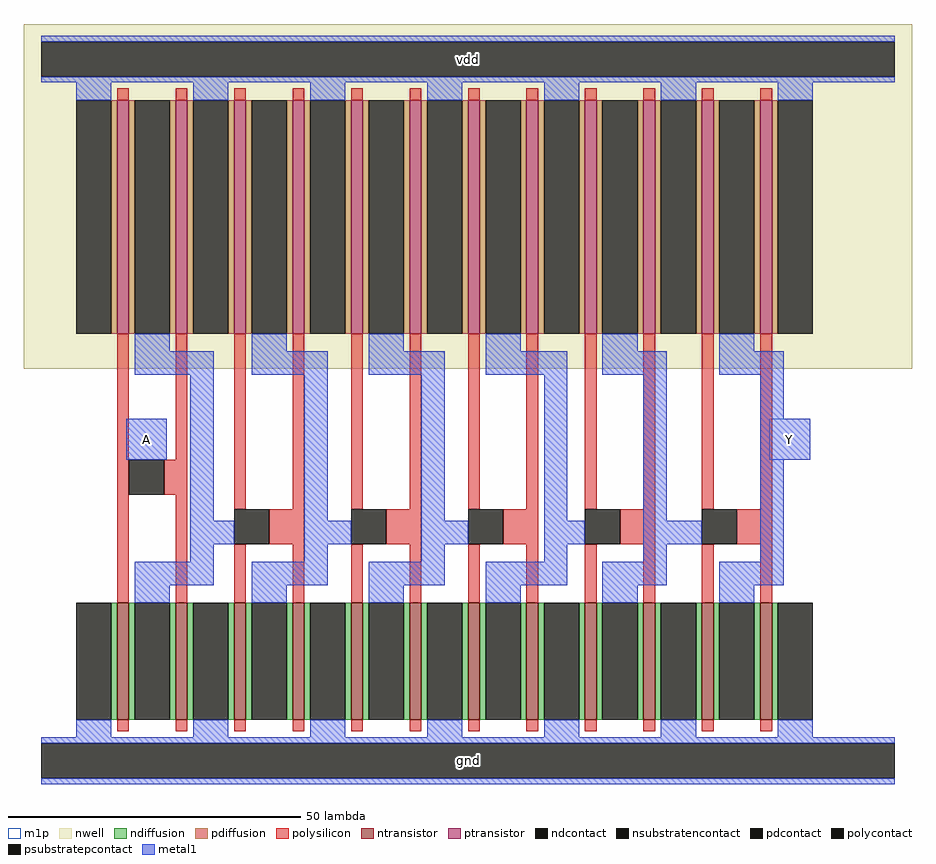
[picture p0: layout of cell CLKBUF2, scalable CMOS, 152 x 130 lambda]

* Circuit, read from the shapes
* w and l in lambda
.subckt CLKBUF2 A Y vdd gnd
M1 n1 A gnd gnd nfet w=20 l=2 m=2
M2 n2 n1 gnd gnd nfet w=20 l=2 m=2
M3 n3 n2 gnd gnd nfet w=20 l=2 m=2
M4 n4 n3 gnd gnd nfet w=20 l=2 m=2
M5 n5 n4 gnd gnd nfet w=20 l=2 m=2
M6 Y n5 gnd gnd nfet w=20 l=2 m=2
M7 n1 A vdd vdd pfet w=40 l=2 m=2
M8 n2 n1 vdd vdd pfet w=40 l=2 m=2
M9 n3 n2 vdd vdd pfet w=40 l=2 m=2
M10 n4 n3 vdd vdd pfet w=40 l=2 m=2
M11 n5 n4 vdd vdd pfet w=40 l=2 m=2
M12 Y n5 vdd vdd pfet w=40 l=2 m=2
.ends

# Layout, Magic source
magic
tech scmos
magscale 1 2
<< nwell >>
rect -12 134 292 252
<< ntransistor >>
rect 20 14 24 54
rect 40 14 44 54
rect 60 14 64 54
rect 80 14 84 54
rect 100 14 104 54
rect 120 14 124 54
rect 140 14 144 54
rect 160 14 164 54
rect 180 14 184 54
rect 200 14 204 54
rect 220 14 224 54
rect 240 14 244 54
<< ptransistor >>
rect 20 146 24 226
rect 40 146 44 226
rect 60 146 64 226
rect 80 146 84 226
rect 100 146 104 226
rect 120 146 124 226
rect 140 146 144 226
rect 160 146 164 226
rect 180 146 184 226
rect 200 146 204 226
rect 220 146 224 226
rect 240 146 244 226
<< ndiffusion >>
rect 18 14 20 54
rect 24 14 26 54
rect 38 14 40 54
rect 44 14 46 54
rect 58 14 60 54
rect 64 14 66 54
rect 78 14 80 54
rect 84 14 86 54
rect 98 14 100 54
rect 104 14 106 54
rect 118 14 120 54
rect 124 14 126 54
rect 138 14 140 54
rect 144 14 146 54
rect 158 14 160 54
rect 164 14 166 54
rect 178 14 180 54
rect 184 14 186 54
rect 198 14 200 54
rect 204 14 206 54
rect 218 14 220 54
rect 224 14 226 54
rect 238 14 240 54
rect 244 14 246 54
<< pdiffusion >>
rect 18 146 20 226
rect 24 146 26 226
rect 38 146 40 226
rect 44 146 46 226
rect 58 146 60 226
rect 64 146 66 226
rect 78 146 80 226
rect 84 146 86 226
rect 98 146 100 226
rect 104 146 106 226
rect 118 146 120 226
rect 124 146 126 226
rect 138 146 140 226
rect 144 146 146 226
rect 158 146 160 226
rect 164 146 166 226
rect 178 146 180 226
rect 184 146 186 226
rect 198 146 200 226
rect 204 146 206 226
rect 218 146 220 226
rect 224 146 226 226
rect 238 146 240 226
rect 244 146 246 226
<< ndcontact >>
rect 6 14 18 54
rect 26 14 38 54
rect 46 14 58 54
rect 66 14 78 54
rect 86 14 98 54
rect 106 14 118 54
rect 126 14 138 54
rect 146 14 158 54
rect 166 14 178 54
rect 186 14 198 54
rect 206 14 218 54
rect 226 14 238 54
rect 246 14 258 54
<< pdcontact >>
rect 6 146 18 226
rect 26 146 38 226
rect 46 146 58 226
rect 66 146 78 226
rect 86 146 98 226
rect 106 146 118 226
rect 126 146 138 226
rect 146 146 158 226
rect 166 146 178 226
rect 186 146 198 226
rect 206 146 218 226
rect 226 146 238 226
rect 246 146 258 226
<< psubstratepcontact >>
rect -6 -6 286 6
<< nsubstratencontact >>
rect -6 234 286 246
<< polysilicon >>
rect 20 226 24 230
rect 40 226 44 230
rect 60 226 64 230
rect 80 226 84 230
rect 100 226 104 230
rect 120 226 124 230
rect 140 226 144 230
rect 160 226 164 230
rect 180 226 184 230
rect 200 226 204 230
rect 220 226 224 230
rect 240 226 244 230
rect 20 54 24 146
rect 40 103 44 146
rect 36 91 44 103
rect 40 54 44 91
rect 60 86 64 146
rect 80 86 84 146
rect 72 74 84 86
rect 60 54 64 74
rect 80 54 84 74
rect 100 86 104 146
rect 120 86 124 146
rect 112 74 124 86
rect 100 54 104 74
rect 120 54 124 74
rect 140 86 144 146
rect 160 86 164 146
rect 152 74 164 86
rect 140 54 144 74
rect 160 54 164 74
rect 180 86 184 146
rect 200 86 204 146
rect 192 74 204 86
rect 180 54 184 74
rect 200 54 204 74
rect 220 86 224 146
rect 240 86 244 146
rect 232 74 244 86
rect 220 54 224 74
rect 240 54 244 74
rect 20 10 24 14
rect 40 10 44 14
rect 60 10 64 14
rect 80 10 84 14
rect 100 10 104 14
rect 120 10 124 14
rect 140 10 144 14
rect 160 10 164 14
rect 180 10 184 14
rect 200 10 204 14
rect 220 10 224 14
rect 240 10 244 14
<< polycontact >>
rect 24 91 36 103
rect 60 74 72 86
rect 100 74 112 86
rect 140 74 152 86
rect 180 74 192 86
rect 220 74 232 86
<< metal1 >>
rect -6 246 286 248
rect -6 232 286 234
rect 6 226 18 232
rect 46 226 58 232
rect 86 226 98 232
rect 126 226 138 232
rect 166 226 178 232
rect 206 226 218 232
rect 246 226 258 232
rect 26 140 38 146
rect 66 140 78 146
rect 106 140 118 146
rect 146 140 158 146
rect 186 140 198 146
rect 226 140 238 146
rect 26 132 53 140
rect 66 132 92 140
rect 106 132 132 140
rect 146 132 174 140
rect 186 132 208 140
rect 226 132 248 140
rect 23 103 37 117
rect 45 82 53 132
rect 45 74 60 82
rect 84 82 92 132
rect 84 74 100 82
rect 124 82 132 132
rect 124 74 140 82
rect 166 82 174 132
rect 166 74 180 82
rect 200 82 208 132
rect 240 117 248 132
rect 240 103 257 117
rect 200 74 220 82
rect 45 68 53 74
rect 84 68 92 74
rect 124 68 132 74
rect 166 68 174 74
rect 200 68 208 74
rect 240 68 248 103
rect 26 60 53 68
rect 66 60 92 68
rect 106 60 132 68
rect 146 60 174 68
rect 186 60 208 68
rect 226 60 248 68
rect 26 54 38 60
rect 66 54 78 60
rect 106 54 118 60
rect 146 54 158 60
rect 186 54 198 60
rect 226 54 238 60
rect 6 8 18 14
rect 46 8 58 14
rect 86 8 98 14
rect 126 8 138 14
rect 166 8 178 14
rect 206 8 218 14
rect 246 8 258 14
rect -6 6 286 8
rect -6 -8 286 -6
<< m1p >>
rect 23 103 37 117
rect 243 103 257 117
<< labels >>
rlabel metal1 23 103 37 117 0 A
port 0 nsew signal input
rlabel metal1 243 103 257 117 0 Y
port 1 nsew signal output
rlabel metal1 -6 -8 286 8 0 gnd
port 3 nsew ground bidirectional abutment
rlabel metal1 -6 232 286 248 0 vdd
port 2 nsew power bidirectional abutment
<< properties >>
string FIXED_BBOX 0 0 280 240
string LEFclass CORE
string LEFsite core
string LEFsymmetry X Y
<< end >>
